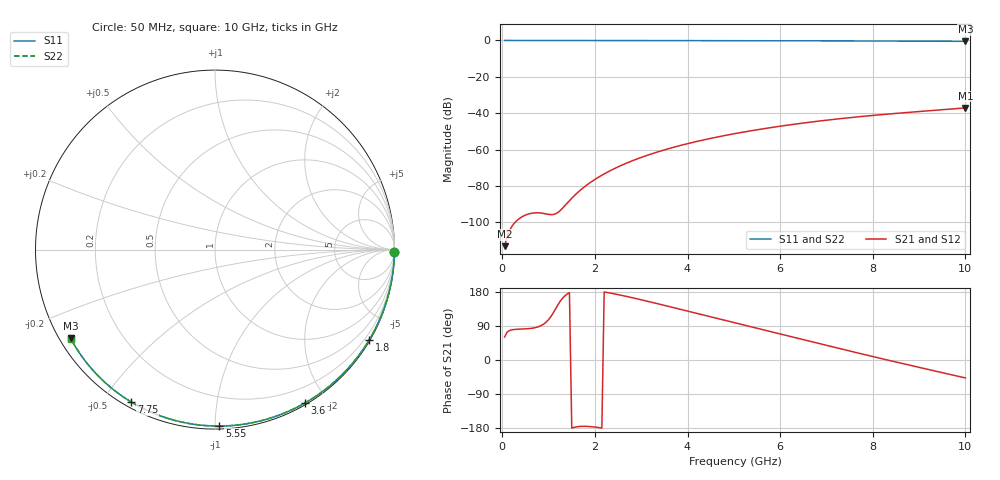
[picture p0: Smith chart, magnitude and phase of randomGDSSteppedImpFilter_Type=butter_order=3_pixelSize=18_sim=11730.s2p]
! freq	dB(S11)	phase(S11)	dB(S12)	phase(S12)
!  dB(S21)	phase(S21)	dB(S22)	phase(S22)
!S-par simulation data
#  GHz  S  DB  R 50
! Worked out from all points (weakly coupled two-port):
!   200 points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, 50 MHz to 10 GHz, reference 50 ohm
!   highest |S21| = -37.08 dB at 10 GHz (marker M1); lowest = -113.1 dB at 50 MHz (marker M2)
!   lowest |S11| = -0.5 dB at 10 GHz (marker M3), VSWR 34.97, Z = 1.54 - j14.1 ohm
!   |S11| at or under -10 dB: nowhere
!   |S22| runs from -0.5 to 0.0 dB; largest |S21 - S12| = 0
!   S11 on the Smith chart (normalised r, x): 50 MHz: open; 1.8 GHz: 0.03, -3.66; 3.6 GHz: 0.02, -1.75; 5.55 GHz: 0.02, -1.02; 7.75 GHz: 0.02, -0.59; 10 GHz: 0.03, -0.28
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0.05  -0.00 -0.9  -113.11 60.6  -113.11 60.6  -0.00 -0.9
0.45  -0.01 -7.8  -96.61 81.8  -96.61 81.8  -0.01 -7.7
0.9  -0.02 -15.4  -95.15 95.3  -95.15 95.3  -0.02 -15.4
1.3  -0.03 -22.2  -92.26 162.9  -92.26 162.9  -0.03 -22.2
1.75  -0.04 -29.7  -80.96 -175.0  -80.96 -175.0  -0.04 -29.7
1.8  -0.04 -30.5  -79.96 -175.0  -79.96 -175.0  -0.04 -30.5
1.95  -0.04 -33.0  -77.24 -176.3  -77.24 -176.3  -0.04 -33.0
2.1  -0.05 -35.5  -74.84 -178.5  -74.84 -178.5  -0.05 -35.5
2.3  -0.05 -38.8  -72.00 177.4  -72.00 177.4  -0.05 -38.8
2.5  -0.05 -42.0  -69.50 172.6  -69.50 172.6  -0.05 -42.0
2.9  -0.06 -48.5  -65.25 161.8  -65.25 161.8  -0.06 -48.5
3.4  -0.07 -56.4  -60.93 147.2  -60.93 147.2  -0.07 -56.4
3.6  -0.08 -59.5  -59.43 141.2  -59.43 141.2  -0.08 -59.5
4.3  -0.10 -70.2  -54.95 120.0  -54.95 120.0  -0.10 -70.2
5.05  -0.13 -81.4  -51.09 97.3  -51.09 97.3  -0.12 -81.3
5.55  -0.14 -88.6  -48.91 82.3  -48.91 82.3  -0.14 -88.5
6.1  -0.17 -96.3  -46.78 65.7  -46.78 65.7  -0.17 -96.3
6.7  -0.20 -104.6  -44.75 47.7  -44.75 47.7  -0.20 -104.6
7.75  -0.27 -118.8  -41.82 16.4  -41.82 16.4  -0.27 -118.7
8.35  -0.32 -126.7  -40.43 -1.0  -40.43 -1.0  -0.32 -126.7
9.2  -0.41 -137.9  -38.67 -25.0  -38.67 -25.0  -0.41 -137.8
10  -0.50 -148.4  -37.08 -47.3  -37.08 -47.3  -0.50 -148.3
